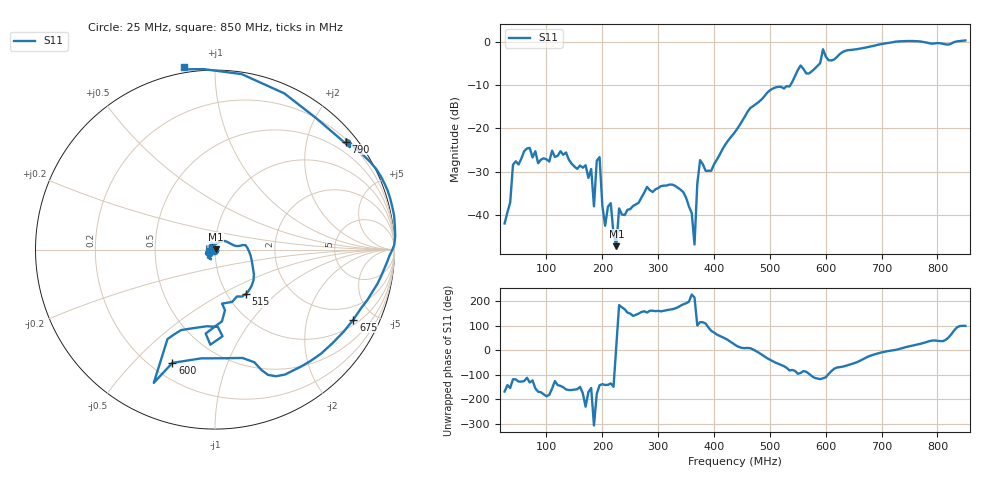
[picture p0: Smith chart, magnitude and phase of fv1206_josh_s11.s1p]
!Created with skrf (http://scikit-rf.org).
# Hz S RI R 50.0
!freq ReS11 ImS11
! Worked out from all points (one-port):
!   166 points, 25 MHz to 850 MHz, reference 50 ohm
!   lowest |S11| = -47.2 dB at 225 MHz (marker M1), VSWR 1.01, Z = 50.4 + j0.154 ohm
!   |S11| at or under -10 dB: start of sweep to 536.7 MHz
!   S11 on the Smith chart (normalised r, x): 25 MHz: 0.98, -0.00; 515 MHz: 1.22, -0.66; 600 MHz: 0.28, -0.65; 675 MHz: 1.24, -3.82; 790 MHz: 0.24, +2.77; 850 MHz: -0.03, +0.84
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2.5e7  -0.00784 -0.00154
4e7  -0.018 -0.0335
6e7  -0.0321 -0.0441
1.3e8  -0.0435 -0.0238
1.8e8  -0.0306 -0.0147
1.85e8  0.00768 0.01
1.9e8  -0.0423 -0.00124
1.95e8  -0.0372 -0.0279
2.05e8  -0.00592 -0.00463
2.15e8  -0.00978 -0.00961
2.25e8  0.0041 0.00153
2.3e8  -0.0119 -0.00097
2.35e8  -0.0101 0.000767
3.35e8  -0.0206 0.00164
3.6e8  -0.0071 -0.00784
3.65e8  -0.0037 -0.00268
3.75e8  -0.0182 0.0389
4.4e8  0.0907 0.0305
5.15e8  0.1721 -0.2471
5.45e8  0.0389 -0.3993
6e8  -0.2376 -0.6312
6.45e8  0.4337 -0.6745
6.75e8  0.7715 -0.3895
7.5e8  0.9759 0.2851
7.9e8  0.73 0.6013
8.15e8  0.6777 0.6345
8.35e8  -0.0657 1.006
8.5e8  -0.1731 1.017
